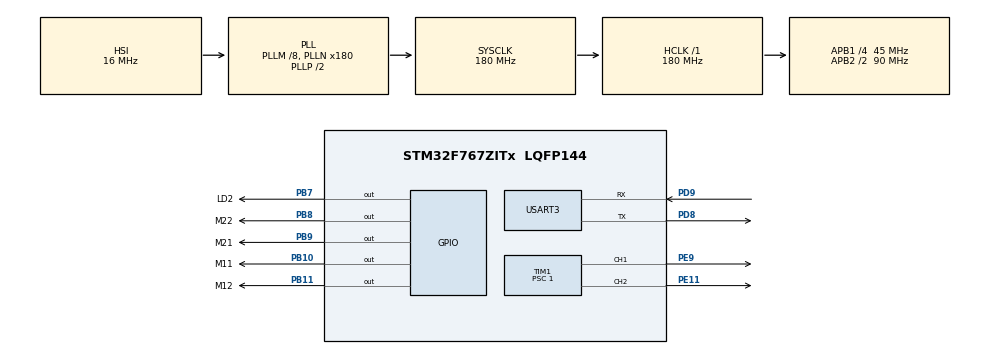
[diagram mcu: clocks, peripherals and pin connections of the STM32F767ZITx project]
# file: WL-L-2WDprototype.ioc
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Dma.Request0=USART3_RX
Dma.Request1=USART3_TX
Dma.USART3_RX.0.Direction=DMA_PERIPH_TO_MEMORY
Dma.USART3_RX.0.FIFOMode=DMA_FIFOMODE_DISABLE
Dma.USART3_RX.0.Instance=DMA1_Stream1
Dma.USART3_RX.0.MemDataAlignment=DMA_MDATAALIGN_BYTE
Dma.USART3_RX.0.MemInc=DMA_MINC_ENABLE
Dma.USART3_RX.0.Mode=DMA_CIRCULAR
Dma.USART3_RX.0.PeriphDataAlignment=DMA_PDATAALIGN_BYTE
Dma.USART3_RX.0.PeriphInc=DMA_PINC_DISABLE
Dma.USART3_RX.0.Priority=DMA_PRIORITY_VERY_HIGH
Dma.USART3_TX.1.Direction=DMA_MEMORY_TO_PERIPH
Dma.USART3_TX.1.FIFOMode=DMA_FIFOMODE_DISABLE
Dma.USART3_TX.1.Instance=DMA1_Stream3
Dma.USART3_TX.1.MemDataAlignment=DMA_MDATAALIGN_BYTE
Dma.USART3_TX.1.MemInc=DMA_MINC_ENABLE
Dma.USART3_TX.1.Mode=DMA_NORMAL
Dma.USART3_TX.1.PeriphDataAlignment=DMA_PDATAALIGN_BYTE
Dma.USART3_TX.1.PeriphInc=DMA_PINC_DISABLE
Dma.USART3_TX.1.Priority=DMA_PRIORITY_VERY_HIGH
FREERTOS.Tasks01=defaultTask,0,512,StartDefaultTask,Default,NULL,Static,defaultTaskBuffer,defaultTaskControlBlock;micoroROSTask,2,3000,StartMicroROSTask,Default,NULL,Static,micoroROSTaskBuffer,micoroROSTaskControlBlock
FREERTOS.configMINIMAL_STACK_SIZE=256
FREERTOS.configUSE_NEWLIB_REENTRANT=1
Mcu.Family=STM32F7
Mcu.Name=STM32F767ZITx
Mcu.Package=LQFP144
NVIC.DMA1_Stream1_IRQn=true\:5\:0\:false\:false\:true\:true\:false\:true\:true
NVIC.DMA1_Stream3_IRQn=true\:5\:0\:false\:false\:true\:true\:false\:true\:true
NVIC.PriorityGroup=NVIC_PRIORITYGROUP_4
NVIC.TIM8_TRG_COM_TIM14_IRQn=true\:15\:0\:false\:false\:true\:false\:false\:true\:true
NVIC.TimeBase=TIM8_TRG_COM_TIM14_IRQn
NVIC.TimeBaseIP=TIM14
NVIC.USART3_IRQn=true\:5\:0\:false\:false\:true\:true\:true\:true\:true
PB10.GPIO_Label=M11
PB10.Signal=GPIO_Output
PB11.GPIO_Label=M12
PB11.Signal=GPIO_Output
PB7.GPIO_Label=LD2
PB7.Signal=GPIO_Output
PB8.GPIO_Label=M22
PB8.Signal=GPIO_Output
PB9.GPIO_Label=M21
PB9.Signal=GPIO_Output
PC14/OSC32_IN.Mode=LSE-External-Oscillator
PC14/OSC32_IN.Signal=RCC_OSC32_IN
PC15/OSC32_OUT.Mode=LSE-External-Oscillator
PC15/OSC32_OUT.Signal=RCC_OSC32_OUT
PD8.Mode=Asynchronous
PD8.Signal=USART3_TX
PD9.Mode=Asynchronous
PD9.Signal=USART3_RX
PE11.Signal=S_TIM1_CH2
PE9.Signal=S_TIM1_CH1
PG11.Signal=ETH_TX_EN
PG13.Signal=ETH_TXD0
PH0/OSC_IN.Mode=HSE-External-Clock-Source
PH0/OSC_IN.Signal=RCC_OSC_IN
PH1/OSC_OUT.Mode=HSE-External-Clock-Source
PH1/OSC_OUT.Signal=RCC_OSC_OUT
ProjectManager.HeapSize=0x200
ProjectManager.StackSize=0x400
ProjectManager.TargetToolchain=STM32CubeIDE
RCC.AHBFreq_Value=180000000
RCC.APB1CLKDivider=RCC_HCLK_DIV4
RCC.APB1Freq_Value=45000000
RCC.APB1TimFreq_Value=90000000
RCC.APB2CLKDivider=RCC_HCLK_DIV2
RCC.APB2Freq_Value=90000000
RCC.APB2TimFreq_Value=180000000
RCC.CortexFreq_Value=180000000
RCC.HCLKFreq_Value=180000000
RCC.HSE_VALUE=8000000
RCC.HSI_VALUE=16000000
RCC.PLLM=8
RCC.PLLN=180
RCC.SYSCLKFreq_VALUE=180000000
RCC.SYSCLKSource=RCC_SYSCLKSOURCE_PLLCLK
RCC.USBFreq_Value=180000000
RCC.VCOOutputFreq_Value=360000000
SH.S_TIM1_CH1.0=TIM1_CH1,PWM Generation1 CH1
SH.S_TIM1_CH2.0=TIM1_CH2,PWM Generation2 CH2
TIM1.Channel-PWM\ Generation1\ CH1=TIM_CHANNEL_1
TIM1.Channel-PWM\ Generation2\ CH2=TIM_CHANNEL_2
TIM1.Period=500
TIM1.Prescaler=1
USART3.VirtualMode-Asynchronous=VM_ASYNC
VP_FREERTOS_VS_CMSIS_V1.Mode=CMSIS_V1
VP_SYS_VS_tim14.Mode=TIM14
board=custom

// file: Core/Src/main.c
/* USER CODE BEGIN Header */
/**
  ******************************************************************************
  * @file           : main.c
  * @brief          : Main program body
  ******************************************************************************
  * @attention
  *
  * Copyright (c) 2023 STMicroelectronics.
  * All rights reserved.
  *
  * This software is licensed under terms that can be found in the LICENSE file
  * in the root directory of this software component.
  * If no LICENSE file comes with this software, it is provided AS-IS.
  *
  ******************************************************************************
  */
/* USER CODE END Header */
#include "main.h"
#include "cmsis_os.h"
#include "dma.h"
#include "tim.h"
#include "usart.h"
#include "gpio.h"

/* USER CODE BEGIN Includes */
#include "stdio.h"
#include "usart.h"

/* USER CODE END Includes */

void SystemClock_Config(void);
void MX_FREERTOS_Init(void);

/* USER CODE BEGIN 0 */

#ifdef __GNUC__
#define PUTCHAR_PROTOTYPE int __io_putchar(uint8_t ch)
#else
#define PUTCHAR_PROTOTYPE int fputc(int ch, FILE *f)
#endif /* __GNUC__ */

PUTCHAR_PROTOTYPE {
    HAL_UART_Transmit(&huart3, &ch, 1, 500);
    return ch;
}

/* USER CODE END 0 */

int main(void)
{

  /* MCU Configuration--------------------------------------------------------*/

  /* Reset of all peripherals, Initializes the Flash interface and the Systick. */
  HAL_Init();

  /* Configure the system clock */
  SystemClock_Config();

  /* Initialize all configured peripherals */
  MX_GPIO_Init();
  MX_DMA_Init();
  MX_USART3_UART_Init();
  MX_TIM1_Init();
  /* USER CODE BEGIN 2 */
  printf("startProgram\n");

    HAL_TIM_PWM_Start(&htim1, TIM_CHANNEL_1);
	HAL_TIM_PWM_Start(&htim1, TIM_CHANNEL_2);

	__HAL_TIM_SET_COMPARE(&htim1, TIM_CHANNEL_1, 100);
	__HAL_TIM_SET_COMPARE(&htim1, TIM_CHANNEL_2, 100);

	HAL_GPIO_WritePin(GPIOB, M11_Pin, GPIO_PIN_RESET);
	HAL_GPIO_WritePin(GPIOB, M12_Pin, GPIO_PIN_RESET);

	HAL_GPIO_WritePin(GPIOB, M21_Pin, GPIO_PIN_RESET);
	HAL_GPIO_WritePin(GPIOB, M22_Pin, GPIO_PIN_RESET);
  /* USER CODE END 2 */

  /* Call init function for freertos objects (in freertos.c) */
  MX_FREERTOS_Init();

  /* Start scheduler */
  osKernelStart();

  /* We should never get here as control is now taken by the scheduler */
  /* Infinite loop */
  while (1)
  {

  }
}

void SystemClock_Config(void)
{
  RCC_OscInitTypeDef RCC_OscInitStruct = {0};
  RCC_ClkInitTypeDef RCC_ClkInitStruct = {0};

  /** Configure LSE Drive Capability
  */
  HAL_PWR_EnableBkUpAccess();

  /** Configure the main internal regulator output voltage
  */
  __HAL_RCC_PWR_CLK_ENABLE();
  __HAL_PWR_VOLTAGESCALING_CONFIG(PWR_REGULATOR_VOLTAGE_SCALE1);

  /** Initializes the RCC Oscillators according to the specified parameters
  * in the RCC_OscInitTypeDef structure.
  */
  RCC_OscInitStruct.OscillatorType = RCC_OSCILLATORTYPE_HSI;
  RCC_OscInitStruct.HSIState = RCC_HSI_ON;
  RCC_OscInitStruct.HSICalibrationValue = RCC_HSICALIBRATION_DEFAULT;
  RCC_OscInitStruct.PLL.PLLState = RCC_PLL_ON;
  RCC_OscInitStruct.PLL.PLLSource = RCC_PLLSOURCE_HSI;
  RCC_OscInitStruct.PLL.PLLM = 8;
  RCC_OscInitStruct.PLL.PLLN = 180;
  RCC_OscInitStruct.PLL.PLLP = RCC_PLLP_DIV2;
  RCC_OscInitStruct.PLL.PLLQ = 2;
  RCC_OscInitStruct.PLL.PLLR = 2;
  if (HAL_RCC_OscConfig(&RCC_OscInitStruct) != HAL_OK)
  {
    Error_Handler();
  }

  /** Initializes the CPU, AHB and APB buses clocks
  */
  RCC_ClkInitStruct.ClockType = RCC_CLOCKTYPE_HCLK|RCC_CLOCKTYPE_SYSCLK
                              |RCC_CLOCKTYPE_PCLK1|RCC_CLOCKTYPE_PCLK2;
  RCC_ClkInitStruct.SYSCLKSource = RCC_SYSCLKSOURCE_PLLCLK;
  RCC_ClkInitStruct.AHBCLKDivider = RCC_SYSCLK_DIV1;
  RCC_ClkInitStruct.APB1CLKDivider = RCC_HCLK_DIV4;
  RCC_ClkInitStruct.APB2CLKDivider = RCC_HCLK_DIV2;

  if (HAL_RCC_ClockConfig(&RCC_ClkInitStruct, FLASH_LATENCY_5) != HAL_OK)
  {
    Error_Handler();
  }
}

void HAL_TIM_PeriodElapsedCallback(TIM_HandleTypeDef *htim)
{
  if (htim->Instance == TIM14) {
    HAL_IncTick();
  }
}

void Error_Handler(void)
{
  __disable_irq();
  while (1)
  {
  }
}

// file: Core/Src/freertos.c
/* USER CODE BEGIN Header */
/**
  ******************************************************************************
  * File Name          : freertos.c
  * Description        : Code for freertos applications
  ******************************************************************************
  * @attention
  *
  * Copyright (c) 2023 STMicroelectronics.
  * All rights reserved.
  *
  * This software is licensed under terms that can be found in the LICENSE file
  * in the root directory of this software component.
  * If no LICENSE file comes with this software, it is provided AS-IS.
  *
  ******************************************************************************
  */
/* USER CODE END Header */

#include "FreeRTOS.h"
#include "task.h"
#include "main.h"
#include "cmsis_os.h"

/* USER CODE BEGIN Includes */
#include <stdbool.h>
#include <rcl/rcl.h>
#include <rcl/error_handling.h>
#include <rclc/rclc.h>
#include <rclc/executor.h>
#include <uxr/client/transport.h>
#include <rmw_microxrcedds_c/config.h>
#include <rmw_microros/rmw_microros.h>
#include "usart.h"
#include "dma.h"
#include "tim.h"
#include "usart.h"
#include "gpio.h"
// カスタムメッセージのインクルード
#include <custom_test_msgs/srv/add_three_ints.h>

/* USER CODE END Includes */

/* USER CODE BEGIN PM */
// エラーハンドリングのためのマクロを設定
#define RCCHECK(fn) { rcl_ret_t temp_rc = fn; if((temp_rc != RCL_RET_OK)){printf("Failed status on line %d: %d. Aborting.\n",__LINE__,(int)temp_rc);}}
#define RCSOFTCHECK(fn) { rcl_ret_t temp_rc = fn; if((temp_rc != RCL_RET_OK)){printf("Failed status on line %d: %d. Continuing.\n",__LINE__,(int)temp_rc);}}
/* USER CODE END PM */

/* USER CODE BEGIN Variables */
// サービスのリクエストとレスポンスの構造体を定義
custom_test_msgs__srv__AddThreeInts_Request req;
custom_test_msgs__srv__AddThreeInts_Response res;

bool cubemx_transport_open(struct uxrCustomTransport * transport);
bool cubemx_transport_close(struct uxrCustomTransport * transport);
size_t cubemx_transport_write(struct uxrCustomTransport* transport, const uint8_t * buf, size_t len, uint8_t * err);
size_t cubemx_transport_read(struct uxrCustomTransport* transport, uint8_t* buf, size_t len, int timeout, uint8_t* err);
/* USER CODE END Variables */
osThreadId defaultTaskHandle;
uint32_t defaultTaskBuffer[ 512 ];
osStaticThreadDef_t defaultTaskControlBlock;
osThreadId micoroROSTaskHandle;
uint32_t micoroROSTaskBuffer[ 3000 ];
osStaticThreadDef_t micoroROSTaskControlBlock;

/* USER CODE BEGIN FunctionPrototypes */
void * microros_allocate(size_t size, void * state);
void microros_deallocate(void * pointer, void * state);
void * microros_reallocate(void * pointer, size_t size, void * state);
void * microros_zero_allocate(size_t number_of_elements, size_t size_of_element, void * state);

// サービスのコールバック関数を定義
void service_callback(const void *request, void *response)
{
	// リクエストとレスポンスを適切な型にキャスト
	custom_test_msgs__srv__AddThreeInts_Request *_req = (custom_test_msgs__srv__AddThreeInts_Request *)request;
	custom_test_msgs__srv__AddThreeInts_Response *_res = (custom_test_msgs__srv__AddThreeInts_Response *)response;

	printf("a: %d\r\nb: %d",_req->a,_req->b);

	if(_req->a == 1){

		HAL_GPIO_WritePin(GPIOB, M11_Pin, GPIO_PIN_RESET);
		HAL_GPIO_WritePin(GPIOB, M12_Pin, GPIO_PIN_SET);

		HAL_GPIO_WritePin(GPIOB, M21_Pin, GPIO_PIN_SET);
		HAL_GPIO_WritePin(GPIOB, M22_Pin, GPIO_PIN_RESET);

		if(_req->b == 1){
			__HAL_TIM_SET_COMPARE(&htim1, TIM_CHANNEL_1, 200);
			__HAL_TIM_SET_COMPARE(&htim1, TIM_CHANNEL_2, 300);
		}else if(_req->b == -1){
			__HAL_TIM_SET_COMPARE(&htim1, TIM_CHANNEL_1, 300);
			__HAL_TIM_SET_COMPARE(&htim1, TIM_CHANNEL_2, 200);
		}else{
			__HAL_TIM_SET_COMPARE(&htim1, TIM_CHANNEL_1, 300);
			__HAL_TIM_SET_COMPARE(&htim1, TIM_CHANNEL_2, 300);
		}

	}else if(_req->a == -1){

		HAL_GPIO_WritePin(GPIOB, M11_Pin, GPIO_PIN_SET);
		HAL_GPIO_WritePin(GPIOB, M12_Pin, GPIO_PIN_RESET);

		HAL_GPIO_WritePin(GPIOB, M21_Pin, GPIO_PIN_RESET);
		HAL_GPIO_WritePin(GPIOB, M22_Pin, GPIO_PIN_SET);

		if(_req->b == 1){
			__HAL_TIM_SET_COMPARE(&htim1, TIM_CHANNEL_1, 200);
			__HAL_TIM_SET_COMPARE(&htim1, TIM_CHANNEL_2, 300);
		}else if(_req->b == -1){
			__HAL_TIM_SET_COMPARE(&htim1, TIM_CHANNEL_1, 300);
			__HAL_TIM_SET_COMPARE(&htim1, TIM_CHANNEL_2, 200);
		}else{
			__HAL_TIM_SET_COMPARE(&htim1, TIM_CHANNEL_1, 300);
			__HAL_TIM_SET_COMPARE(&htim1, TIM_CHANNEL_2, 300);
		}

	}else{
		HAL_GPIO_WritePin(GPIOB, M11_Pin, GPIO_PIN_RESET);
		HAL_GPIO_WritePin(GPIOB, M12_Pin, GPIO_PIN_RESET);

		HAL_GPIO_WritePin(GPIOB, M21_Pin, GPIO_PIN_RESET);
		HAL_GPIO_WritePin(GPIOB, M22_Pin, GPIO_PIN_RESET);
	}
	// レスポンスに合計値をセット
	_res->sum = 0;
}

/* USER CODE END FunctionPrototypes */

void StartDefaultTask(void const * argument);
void StartMicroROSTask(void const * argument);

void MX_FREERTOS_Init(void); /* (MISRA C 2004 rule 8.1) */

/* GetIdleTaskMemory prototype (linked to static allocation support) */
void vApplicationGetIdleTaskMemory( StaticTask_t **ppxIdleTaskTCBBuffer, StackType_t **ppxIdleTaskStackBuffer, uint32_t *pulIdleTaskStackSize );

/* USER CODE BEGIN GET_IDLE_TASK_MEMORY */
static StaticTask_t xIdleTaskTCBBuffer;
static StackType_t xIdleStack[configMINIMAL_STACK_SIZE];

void vApplicationGetIdleTaskMemory( StaticTask_t **ppxIdleTaskTCBBuffer, StackType_t **ppxIdleTaskStackBuffer, uint32_t *pulIdleTaskStackSize )
{
  *ppxIdleTaskTCBBuffer = &xIdleTaskTCBBuffer;
  *ppxIdleTaskStackBuffer = &xIdleStack[0];
  *pulIdleTaskStackSize = configMINIMAL_STACK_SIZE;
  /* place for user code */
}
/* USER CODE END GET_IDLE_TASK_MEMORY */

void MX_FREERTOS_Init(void) {

  /* Create the thread(s) */
  /* definition and creation of defaultTask */
  osThreadStaticDef(defaultTask, StartDefaultTask, osPriorityNormal, 0, 512, defaultTaskBuffer, &defaultTaskControlBlock);
  defaultTaskHandle = osThreadCreate(osThread(defaultTask), NULL);

  /* definition and creation of micoroROSTask */
  osThreadStaticDef(micoroROSTask, StartMicroROSTask, osPriorityHigh, 0, 3000, micoroROSTaskBuffer, &micoroROSTaskControlBlock);
  micoroROSTaskHandle = osThreadCreate(osThread(micoroROSTask), NULL);

}

void StartDefaultTask(void const * argument)
{
  for(;;)
  {
    osDelay(1);
  }
}

void StartMicroROSTask(void const * argument)
{
  /* USER CODE BEGIN StartMicroROSTask */
	// micro-ROSの初期化
	 	printf("start microROS task\r\n");
	 	rmw_uros_set_custom_transport(
	 	    true,
	 	    (void *) &huart3,
	 	    cubemx_transport_open,
	 	    cubemx_transport_close,
	 	    cubemx_transport_write,
	 	    cubemx_transport_read);

	 	rcl_allocator_t freeRTOS_allocator = rcutils_get_zero_initialized_allocator();
	 	freeRTOS_allocator.allocate = microros_allocate;
	 	freeRTOS_allocator.deallocate = microros_deallocate;
	 	freeRTOS_allocator.reallocate = microros_reallocate;
	 	freeRTOS_allocator.zero_allocate =  microros_zero_allocate;
	 	if (!rcutils_set_default_allocator(&freeRTOS_allocator)) {
	 		printf("Error on default allocators (line %d)\r\n", __LINE__);
	 	}

	     // ここからサービスサーバの実装
	 	setvbuf(stdout, NULL, _IONBF, BUFSIZ);
	 	rcl_init_options_t init_options = rcl_get_zero_initialized_init_options();
	 	rcl_allocator_t allocator = rcl_get_default_allocator();
	 	rclc_support_t support;
	 	rcl_node_t node = rcl_get_zero_initialized_node();
	 	rcl_service_t service = rcl_get_zero_initialized_service();
	 	rclc_executor_t executor = rclc_executor_get_zero_initialized_executor();
	 	rcl_node_options_t node_ops = rcl_node_get_default_options();

	 	RCCHECK(rcl_init_options_init(&init_options, allocator));
	     // ROS_DOMAIN_IDの設定。今回は0としてる。
	 	RCCHECK(rcl_init_options_set_domain_id(&init_options, 0));
	 	rclc_support_init_with_options(&support, 0, NULL, &init_options, &allocator);
	     // ノードの作成
	 	RCCHECK(rclc_node_init_with_options(&node, "simple_server", "", &support, &node_ops));
	     // サービスの作成
	 	RCCHECK(rclc_service_init_default(&service, &node, ROSIDL_GET_SRV_TYPE_SUPPORT(custom_test_msgs, srv, AddThreeInts), "add_three_ints"));
	     // エグゼキューターの作成
	 	RCCHECK(rclc_executor_init(&executor, &support.context, 1, &allocator));
	     // エグゼキューターにサービスを追加
	 	RCCHECK(rclc_executor_add_service(&executor, &service, &req, &res, &service_callback));
  /* Infinite loop */
  for(;;)
  {
	  // エグゼキューターを実行してリクエストを処理
	  rclc_executor_spin_some(&executor, RCL_MS_TO_NS(100));
		osDelay(1);
  }
  // 終了処理
    	RCCHECK(rcl_service_fini(&service, &node));
    	RCCHECK(rcl_node_fini(&node));
  /* USER CODE END StartMicroROSTask */
}
